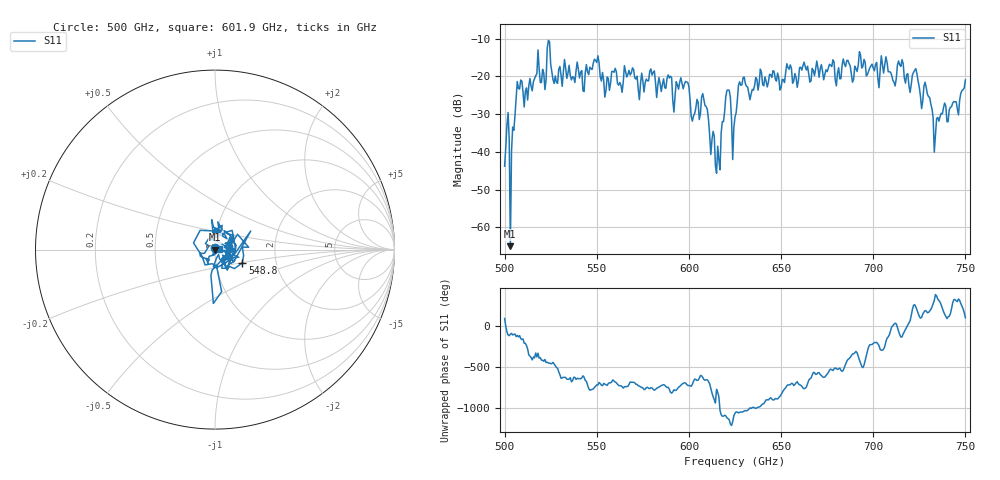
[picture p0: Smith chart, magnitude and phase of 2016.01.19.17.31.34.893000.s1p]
!Created with skrf (http://scikit-rf.org).
# GHz S RI R 50.0
!freq ReS11 ImS11
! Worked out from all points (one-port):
!   401 points, 500 GHz to 750 GHz, reference 50 ohm
!   lowest |S11| = -65.0 dB at 503.1 GHz (marker M1), VSWR 1.00, Z = 50 - j0.0548 ohm
!   |S11| at or under -10 dB: start of sweep to end of sweep
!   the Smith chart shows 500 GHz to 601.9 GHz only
!   S11 on the Smith chart (normalised r, x): 500 GHz: 1.00, +0.01; 548.8 GHz: 1.34, -0.20; 601.9 GHz: 1.05, +0.01
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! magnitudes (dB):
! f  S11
! 500 GHz  -43.8
! 501.2 GHz  -33.0
! 503.1 GHz  -65.0
! 504.4 GHz  -33.4
! 505.6 GHz  -30.4
! 508.1 GHz  -23.3
! 521.2 GHz  -19.1
! 524.4 GHz  -10.8
! 527.5 GHz  -19.9
! 531.2 GHz  -22.6
! 548.8 GHz  -15.4
! 562.5 GHz  -21.6
! 593.8 GHz  -22.2
! 598.8 GHz  -21.5
! 601.9 GHz  -31.9
! 608.1 GHz  -26.1
! 615.6 GHz  -38.5
! 621.2 GHz  -23.6
! 625 GHz  -30.8
! 628.8 GHz  -22.2
! 656.2 GHz  -21.8
! 687.5 GHz  -17.2
! 711.2 GHz  -21.5
! 715 GHz  -17.3
! 718.8 GHz  -19.3
! 728.8 GHz  -22.9
! 734.4 GHz  -31.2
! 750 GHz  -20.9
